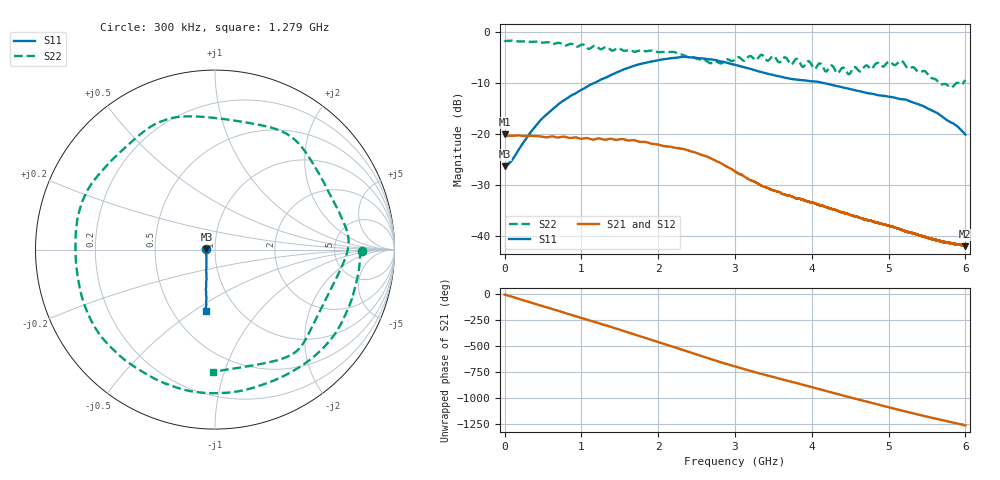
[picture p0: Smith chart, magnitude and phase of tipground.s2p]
!  8/12/2020  02:53:42
! Ref Plane: 0.000 mm
# MHZ S MA R  50
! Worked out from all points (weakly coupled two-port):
!   10001 points, 300 kHz to 6 GHz, reference 50 ohm
!   highest |S21| = -20.12 dB at 300 kHz (marker M1); lowest = -42.1 dB at 5.994 GHz (marker M2)
!   lowest |S11| = -26.4 dB at 900 kHz (marker M3), VSWR 1.10, Z = 45.4 + j0.106 ohm
!   |S11| at or under -10 dB: start of sweep to 1.182 GHz; 4.121 GHz to end of sweep
!   |S22| runs from -11.0 to -1.7 dB; largest |S21 - S12| = 0.002
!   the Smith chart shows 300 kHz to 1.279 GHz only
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0.3  0.04823 177.5  0.09859 -1.2  0.09692 -1.1  0.8176 -0.5
0.9  0.04778 178.6  0.09462 -0.7  0.09563 -0.5  0.8104 -0.7
256.4872  0.08416 -124.8  0.0946 -58.5  0.09437 -58.4  0.8002 -91.4
507.8746  0.1446 -109.2  0.09259 -115.3  0.09239 -115.1  0.7777 179.3
742.4629  0.2048 -103.7  0.09287 -167.0  0.09279 -166.7  0.7593 102.2
1000.45  0.2682 -100.3  0.08896 134.2  0.08889 134.4  0.7424 8.1
1287.236  0.3467 -98.6  0.08721 69.2  0.08704 69.4  0.6875 -93.7
1514.024  0.4125 -99.3  0.08831 17.6  0.08828 17.8  0.6708 -169.0
1763.612  0.4801 -102.3  0.0829 -42.3  0.0829 -42.1  0.654 101.0
2000.6  0.5231 -106.2  0.07799 -98.4  0.078 -98.2  0.6276 23.1
2316.184  0.5655 -112.3  0.07088 -172.7  0.07078 -172.7  0.591 -75.6
2593.97  0.5433 -117.9  0.06077 120.0  0.06063 120.0  0.5307 -173.2
3000.15  0.4711 -121.9  0.04251 25.4  0.04238 25.5  0.5324 32.5
3358.332  0.3981 -120.5  0.0305 -47.4  0.03038 -47.4  0.589 -77.8
3653.517  0.3524 -115.2  0.02505 -104.9  0.02499 -104.7  0.5594 -173.5
4000.3  0.3253 -108.9  0.02119 -172.9  0.02103 -172.6  0.4672 75.5
4419.679  0.2815 -104.3  0.01663 104.5  0.01662 105.0  0.4402 -75.7
4706.465  0.2509 -99.5  0.01432 49.9  0.01423 50.1  0.466 178.7
5000.45  0.23 -94.9  0.0125 -5.7  0.01244 -5.4  0.5052 86.0
5506.825  0.1767 -91.4  0.009571 -97.7  0.009524 -97.6  0.384 -63.9
5994  0.09876 -81.6  0.007872 179.4  0.007944 -180.0  0.3302 97.2
6000  0.09775 -81.4  0.007907 178.5  0.007918 178.7  0.3351 95.3
